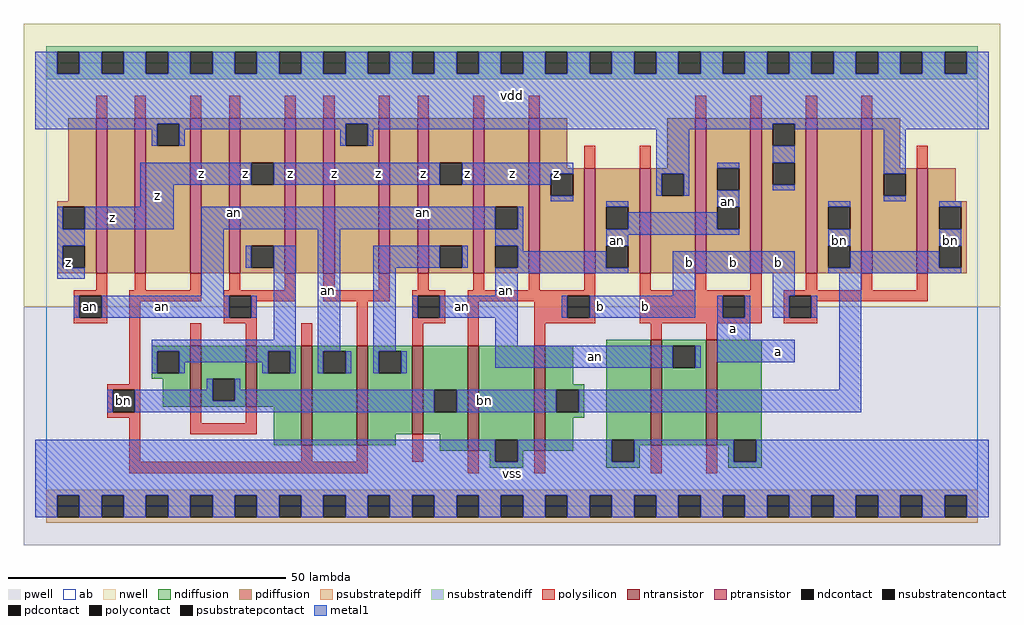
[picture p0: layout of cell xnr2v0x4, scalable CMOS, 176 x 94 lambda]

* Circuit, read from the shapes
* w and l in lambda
.subckt xnr2v0x4 a an b bn vdd vss z
M1 bn an z vss nfet w=11 l=2 m=2
M2 an bn z vss nfet w=18 l=2 m=2
M3 bn an z vss nfet w=16 l=2
M4 vss b bn vss nfet w=19 l=2 m=2
M5 an a vss vss nfet w=19 l=2 m=2
M6 n1 an z vdd pfet w=28 l=2
M7 vdd bn n1 vdd pfet w=28 l=2
M8 n2 bn vdd vdd pfet w=28 l=2
M9 z an n2 vdd pfet w=28 l=2
M10 n3 an z vdd pfet w=28 l=2
M11 vdd bn n3 vdd pfet w=28 l=2
M12 n4 bn vdd vdd pfet w=28 l=2
M13 z an n4 vdd pfet w=28 l=2
M14 an b z vdd pfet w=28 l=2 m=2
M15 an b z vdd pfet w=19 l=2
M16 vdd a an vdd pfet w=19 l=2
M17 an a vdd vdd pfet w=28 l=2 m=2
M18 bn b vdd vdd pfet w=28 l=2 m=2
M19 bn b vdd vdd pfet w=19 l=2
.ends

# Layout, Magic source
magic
tech scmos
<< ab >>
rect 0 0 168 80
<< pwell >>
rect -4 -7 172 36
<< nwell >>
rect -4 36 172 87
<< polysilicon >>
rect 9 70 11 74
rect 16 70 18 74
rect 26 70 28 74
rect 33 70 35 74
rect 43 70 45 74
rect 50 70 52 74
rect 60 70 62 74
rect 67 70 69 74
rect 77 70 79 74
rect 87 70 89 74
rect 117 70 119 74
rect 127 70 129 74
rect 137 70 139 74
rect 147 70 149 74
rect 97 61 99 65
rect 107 61 109 65
rect 157 61 159 65
rect 9 39 11 42
rect 16 39 18 42
rect 26 39 28 42
rect 33 39 35 42
rect 43 39 45 42
rect 5 38 11 39
rect 5 34 6 38
rect 10 34 11 38
rect 5 33 11 34
rect 15 37 28 39
rect 32 38 45 39
rect 15 22 17 37
rect 32 34 33 38
rect 37 37 45 38
rect 50 39 52 42
rect 60 39 62 42
rect 67 39 69 42
rect 77 39 79 42
rect 87 39 89 42
rect 97 39 99 42
rect 50 37 62 39
rect 66 38 72 39
rect 37 34 38 37
rect 32 33 38 34
rect 26 29 28 33
rect 36 29 38 33
rect 46 29 48 33
rect 56 29 58 37
rect 66 34 67 38
rect 71 34 72 38
rect 66 33 72 34
rect 76 38 99 39
rect 76 37 94 38
rect 66 29 68 33
rect 76 29 78 37
rect 88 34 94 37
rect 98 34 99 38
rect 88 33 99 34
rect 107 39 109 42
rect 117 39 119 42
rect 127 39 129 42
rect 137 39 139 42
rect 147 39 149 42
rect 157 39 159 42
rect 107 38 129 39
rect 107 34 122 38
rect 126 34 129 38
rect 107 33 129 34
rect 133 38 159 39
rect 133 34 134 38
rect 138 37 159 38
rect 138 34 139 37
rect 133 33 139 34
rect 88 29 90 33
rect 109 30 111 33
rect 119 30 121 33
rect 11 21 17 22
rect 11 17 12 21
rect 16 17 17 21
rect 11 16 17 17
rect 15 8 17 16
rect 26 15 28 18
rect 36 15 38 18
rect 26 13 38 15
rect 46 8 48 11
rect 56 8 58 11
rect 66 8 68 13
rect 15 6 58 8
rect 76 6 78 10
rect 88 6 90 10
rect 109 6 111 11
rect 119 6 121 11
<< ndiffusion >>
rect 19 28 26 29
rect 19 24 20 28
rect 24 24 26 28
rect 19 23 26 24
rect 21 18 26 23
rect 28 23 36 29
rect 28 19 30 23
rect 34 19 36 23
rect 28 18 36 19
rect 38 28 46 29
rect 38 24 40 28
rect 44 24 46 28
rect 38 18 46 24
rect 41 11 46 18
rect 48 28 56 29
rect 48 24 50 28
rect 54 24 56 28
rect 48 11 56 24
rect 58 28 66 29
rect 58 24 60 28
rect 64 24 66 28
rect 58 13 66 24
rect 68 21 76 29
rect 68 17 70 21
rect 74 17 76 21
rect 68 13 76 17
rect 58 11 63 13
rect 71 10 76 13
rect 78 12 88 29
rect 78 10 81 12
rect 80 8 81 10
rect 85 10 88 12
rect 90 22 95 29
rect 90 21 97 22
rect 90 17 92 21
rect 96 17 97 21
rect 90 16 97 17
rect 90 10 95 16
rect 101 12 109 30
rect 85 8 86 10
rect 80 7 86 8
rect 101 8 102 12
rect 106 11 109 12
rect 111 29 119 30
rect 111 25 113 29
rect 117 25 119 29
rect 111 11 119 25
rect 121 12 129 30
rect 121 11 124 12
rect 106 8 107 11
rect 101 7 107 8
rect 123 8 124 11
rect 128 8 129 12
rect 123 7 129 8
<< pdiffusion >>
rect 4 55 9 70
rect 2 54 9 55
rect 2 50 3 54
rect 7 50 9 54
rect 2 47 9 50
rect 2 43 3 47
rect 7 43 9 47
rect 2 42 9 43
rect 11 42 16 70
rect 18 69 26 70
rect 18 65 20 69
rect 24 65 26 69
rect 18 42 26 65
rect 28 42 33 70
rect 35 62 43 70
rect 35 58 37 62
rect 41 58 43 62
rect 35 47 43 58
rect 35 43 37 47
rect 41 43 43 47
rect 35 42 43 43
rect 45 42 50 70
rect 52 69 60 70
rect 52 65 54 69
rect 58 65 60 69
rect 52 42 60 65
rect 62 42 67 70
rect 69 62 77 70
rect 69 58 71 62
rect 75 58 77 62
rect 69 47 77 58
rect 69 43 71 47
rect 75 43 77 47
rect 69 42 77 43
rect 79 54 87 70
rect 79 50 81 54
rect 85 50 87 54
rect 79 47 87 50
rect 79 43 81 47
rect 85 43 87 47
rect 79 42 87 43
rect 89 61 94 70
rect 112 61 117 70
rect 89 60 97 61
rect 89 56 91 60
rect 95 56 97 60
rect 89 42 97 56
rect 99 54 107 61
rect 99 50 101 54
rect 105 50 107 54
rect 99 47 107 50
rect 99 43 101 47
rect 105 43 107 47
rect 99 42 107 43
rect 109 60 117 61
rect 109 56 111 60
rect 115 56 117 60
rect 109 42 117 56
rect 119 61 127 70
rect 119 57 121 61
rect 125 57 127 61
rect 119 54 127 57
rect 119 50 121 54
rect 125 50 127 54
rect 119 42 127 50
rect 129 69 137 70
rect 129 65 131 69
rect 135 65 137 69
rect 129 62 137 65
rect 129 58 131 62
rect 135 58 137 62
rect 129 42 137 58
rect 139 54 147 70
rect 139 50 141 54
rect 145 50 147 54
rect 139 47 147 50
rect 139 43 141 47
rect 145 43 147 47
rect 139 42 147 43
rect 149 61 154 70
rect 149 60 157 61
rect 149 56 151 60
rect 155 56 157 60
rect 149 42 157 56
rect 159 55 164 61
rect 159 54 166 55
rect 159 50 161 54
rect 165 50 166 54
rect 159 47 166 50
rect 159 43 161 47
rect 165 43 166 47
rect 159 42 166 43
<< metal1 >>
rect -2 78 2 82
rect 6 78 10 82
rect 14 78 18 82
rect 22 78 26 82
rect 30 78 34 82
rect 38 78 42 82
rect 46 78 50 82
rect 54 78 58 82
rect 62 78 66 82
rect 70 78 74 82
rect 78 78 82 82
rect 86 78 90 82
rect 94 78 98 82
rect 102 78 106 82
rect 110 78 114 82
rect 118 78 122 82
rect 126 78 130 82
rect 134 78 138 82
rect 142 78 146 82
rect 150 78 154 82
rect 158 78 162 82
rect 166 78 170 82
rect -2 69 170 78
rect -2 68 20 69
rect 19 65 20 68
rect 24 68 54 69
rect 24 65 25 68
rect 53 65 54 68
rect 58 68 131 69
rect 58 65 59 68
rect 17 58 37 62
rect 41 58 71 62
rect 75 60 95 62
rect 75 58 91 60
rect 17 54 23 58
rect 110 60 116 68
rect 135 68 170 69
rect 131 62 135 65
rect 110 56 111 60
rect 115 56 116 60
rect 121 61 125 62
rect 131 57 135 58
rect 151 60 155 68
rect 91 55 95 56
rect 101 54 105 55
rect 2 50 3 54
rect 7 50 23 54
rect 28 50 81 54
rect 85 50 86 54
rect 2 47 7 50
rect 2 43 3 47
rect 2 41 7 43
rect 28 38 32 50
rect 36 43 37 47
rect 5 34 6 38
rect 10 34 33 38
rect 37 34 38 38
rect 41 30 45 47
rect 19 28 45 30
rect 19 24 20 28
rect 24 26 40 28
rect 24 24 25 26
rect 39 24 40 26
rect 44 24 45 28
rect 49 28 53 50
rect 81 47 86 50
rect 59 43 71 47
rect 75 43 76 47
rect 85 46 86 47
rect 121 54 125 57
rect 151 55 155 56
rect 105 50 121 53
rect 101 49 125 50
rect 141 54 145 55
rect 101 47 105 49
rect 85 43 101 46
rect 141 47 145 50
rect 59 28 63 43
rect 81 42 105 43
rect 113 42 135 46
rect 161 54 165 55
rect 161 47 165 50
rect 145 43 161 46
rect 141 42 165 43
rect 81 38 85 42
rect 113 38 117 42
rect 131 38 135 42
rect 66 34 67 38
rect 71 34 85 38
rect 93 34 94 38
rect 98 34 117 38
rect 121 34 122 38
rect 126 34 127 38
rect 131 34 134 38
rect 138 34 139 38
rect 81 29 85 34
rect 121 30 127 34
rect 49 24 50 28
rect 54 24 55 28
rect 59 24 60 28
rect 64 24 65 28
rect 81 25 113 29
rect 117 25 118 29
rect 121 26 135 30
rect 29 21 30 23
rect 11 17 12 21
rect 16 19 30 21
rect 34 21 35 23
rect 143 21 147 42
rect 34 19 70 21
rect 16 17 70 19
rect 74 17 92 21
rect 96 17 147 21
rect -2 8 81 12
rect 85 8 102 12
rect 106 8 124 12
rect 128 8 170 12
rect -2 2 170 8
rect -2 -2 2 2
rect 6 -2 10 2
rect 14 -2 18 2
rect 22 -2 26 2
rect 30 -2 34 2
rect 38 -2 42 2
rect 46 -2 50 2
rect 54 -2 58 2
rect 62 -2 66 2
rect 70 -2 74 2
rect 78 -2 82 2
rect 86 -2 90 2
rect 94 -2 98 2
rect 102 -2 106 2
rect 110 -2 114 2
rect 118 -2 122 2
rect 126 -2 130 2
rect 134 -2 138 2
rect 142 -2 146 2
rect 150 -2 154 2
rect 158 -2 162 2
rect 166 -2 170 2
<< ntransistor >>
rect 26 18 28 29
rect 36 18 38 29
rect 46 11 48 29
rect 56 11 58 29
rect 66 13 68 29
rect 76 10 78 29
rect 88 10 90 29
rect 109 11 111 30
rect 119 11 121 30
<< ptransistor >>
rect 9 42 11 70
rect 16 42 18 70
rect 26 42 28 70
rect 33 42 35 70
rect 43 42 45 70
rect 50 42 52 70
rect 60 42 62 70
rect 67 42 69 70
rect 77 42 79 70
rect 87 42 89 70
rect 97 42 99 61
rect 107 42 109 61
rect 117 42 119 70
rect 127 42 129 70
rect 137 42 139 70
rect 147 42 149 70
rect 157 42 159 61
<< polycontact >>
rect 6 34 10 38
rect 33 34 37 38
rect 67 34 71 38
rect 94 34 98 38
rect 122 34 126 38
rect 134 34 138 38
rect 12 17 16 21
<< ndcontact >>
rect 20 24 24 28
rect 30 19 34 23
rect 40 24 44 28
rect 50 24 54 28
rect 60 24 64 28
rect 70 17 74 21
rect 81 8 85 12
rect 92 17 96 21
rect 102 8 106 12
rect 113 25 117 29
rect 124 8 128 12
<< pdcontact >>
rect 3 50 7 54
rect 3 43 7 47
rect 20 65 24 69
rect 37 58 41 62
rect 37 43 41 47
rect 54 65 58 69
rect 71 58 75 62
rect 71 43 75 47
rect 81 50 85 54
rect 81 43 85 47
rect 91 56 95 60
rect 101 50 105 54
rect 101 43 105 47
rect 111 56 115 60
rect 121 57 125 61
rect 121 50 125 54
rect 131 65 135 69
rect 131 58 135 62
rect 141 50 145 54
rect 141 43 145 47
rect 151 56 155 60
rect 161 50 165 54
rect 161 43 165 47
<< psubstratepcontact >>
rect 2 -2 6 2
rect 10 -2 14 2
rect 18 -2 22 2
rect 26 -2 30 2
rect 34 -2 38 2
rect 42 -2 46 2
rect 50 -2 54 2
rect 58 -2 62 2
rect 66 -2 70 2
rect 74 -2 78 2
rect 82 -2 86 2
rect 90 -2 94 2
rect 98 -2 102 2
rect 106 -2 110 2
rect 114 -2 118 2
rect 122 -2 126 2
rect 130 -2 134 2
rect 138 -2 142 2
rect 146 -2 150 2
rect 154 -2 158 2
rect 162 -2 166 2
<< nsubstratencontact >>
rect 2 78 6 82
rect 10 78 14 82
rect 18 78 22 82
rect 26 78 30 82
rect 34 78 38 82
rect 42 78 46 82
rect 50 78 54 82
rect 58 78 62 82
rect 66 78 70 82
rect 74 78 78 82
rect 82 78 86 82
rect 90 78 94 82
rect 98 78 102 82
rect 106 78 110 82
rect 114 78 118 82
rect 122 78 126 82
rect 130 78 134 82
rect 138 78 142 82
rect 146 78 150 82
rect 154 78 158 82
rect 162 78 166 82
<< psubstratepdiff >>
rect 0 2 168 3
rect 0 -2 2 2
rect 6 -2 10 2
rect 14 -2 18 2
rect 22 -2 26 2
rect 30 -2 34 2
rect 38 -2 42 2
rect 46 -2 50 2
rect 54 -2 58 2
rect 62 -2 66 2
rect 70 -2 74 2
rect 78 -2 82 2
rect 86 -2 90 2
rect 94 -2 98 2
rect 102 -2 106 2
rect 110 -2 114 2
rect 118 -2 122 2
rect 126 -2 130 2
rect 134 -2 138 2
rect 142 -2 146 2
rect 150 -2 154 2
rect 158 -2 162 2
rect 166 -2 168 2
rect 0 -3 168 -2
<< nsubstratendiff >>
rect 0 82 168 83
rect 0 78 2 82
rect 6 78 10 82
rect 14 78 18 82
rect 22 78 26 82
rect 30 78 34 82
rect 38 78 42 82
rect 46 78 50 82
rect 54 78 58 82
rect 62 78 66 82
rect 70 78 74 82
rect 78 78 82 82
rect 86 78 90 82
rect 94 78 98 82
rect 102 78 106 82
rect 110 78 114 82
rect 118 78 122 82
rect 126 78 130 82
rect 134 78 138 82
rect 142 78 146 82
rect 150 78 154 82
rect 158 78 162 82
rect 166 78 168 82
rect 0 77 168 78
<< labels >>
rlabel polycontact 14 19 14 19 6 bn
rlabel polycontact 8 36 8 36 6 an
rlabel ptransistor 34 53 34 53 6 an
rlabel ptransistor 68 53 68 53 6 an
rlabel pdcontact 4 44 4 44 6 z
rlabel metal1 12 52 12 52 6 z
rlabel metal1 28 60 28 60 6 z
rlabel metal1 20 56 20 56 6 z
rlabel metal1 21 36 21 36 6 an
rlabel metal1 51 39 51 39 6 an
rlabel metal1 60 60 60 60 6 z
rlabel metal1 52 60 52 60 6 z
rlabel metal1 44 60 44 60 6 z
rlabel metal1 36 60 36 60 6 z
rlabel metal1 84 6 84 6 6 vss
rlabel metal1 75 36 75 36 6 an
rlabel metal1 83 39 83 39 6 an
rlabel metal1 68 60 68 60 6 z
rlabel metal1 92 60 92 60 6 z
rlabel metal1 84 60 84 60 6 z
rlabel metal1 76 60 76 60 6 z
rlabel metal1 84 74 84 74 6 vdd
rlabel metal1 99 27 99 27 6 an
rlabel metal1 132 28 132 28 6 a
rlabel metal1 124 32 124 32 6 a
rlabel metal1 100 36 100 36 6 b
rlabel metal1 132 44 132 44 6 b
rlabel metal1 124 44 124 44 6 b
rlabel metal1 116 44 116 44 6 b
rlabel metal1 108 36 108 36 6 b
rlabel metal1 123 55 123 55 6 an
rlabel metal1 103 48 103 48 6 an
rlabel metal1 79 19 79 19 6 bn
rlabel metal1 163 48 163 48 6 bn
rlabel metal1 143 48 143 48 6 bn
<< end >>
